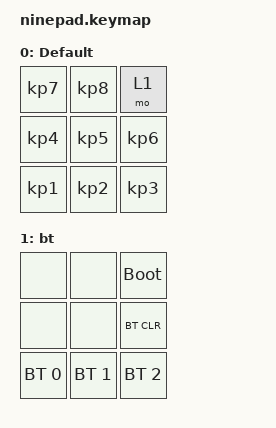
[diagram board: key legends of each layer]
#include <behaviors.dtsi>
#include <dt-bindings/zmk/keys.h>
#include <dt-bindings/zmk/bt.h>

/ {
        keymap {
                compatible = "zmk,keymap";
                label = "ninepad";
		
                default_layer {
                label = "Default";
                	bindings = <
                    &kp KP_N7 &kp KP_N8 &mo 1
                    &kp KP_N4 &kp KP_N5 &kp KP_N6
                    &kp KP_N1 &kp KP_N2 &kp KP_N3

                        >;
                };

                bt_layer {
                label = "bt";
                	bindings = <
                    &none &none &bootloader
                    &none &none &bt BT_CLR
                    &bt BT_SEL 0 &bt BT_SEL 1 &bt BT_SEL 2

                        >;
                };

        };
};
